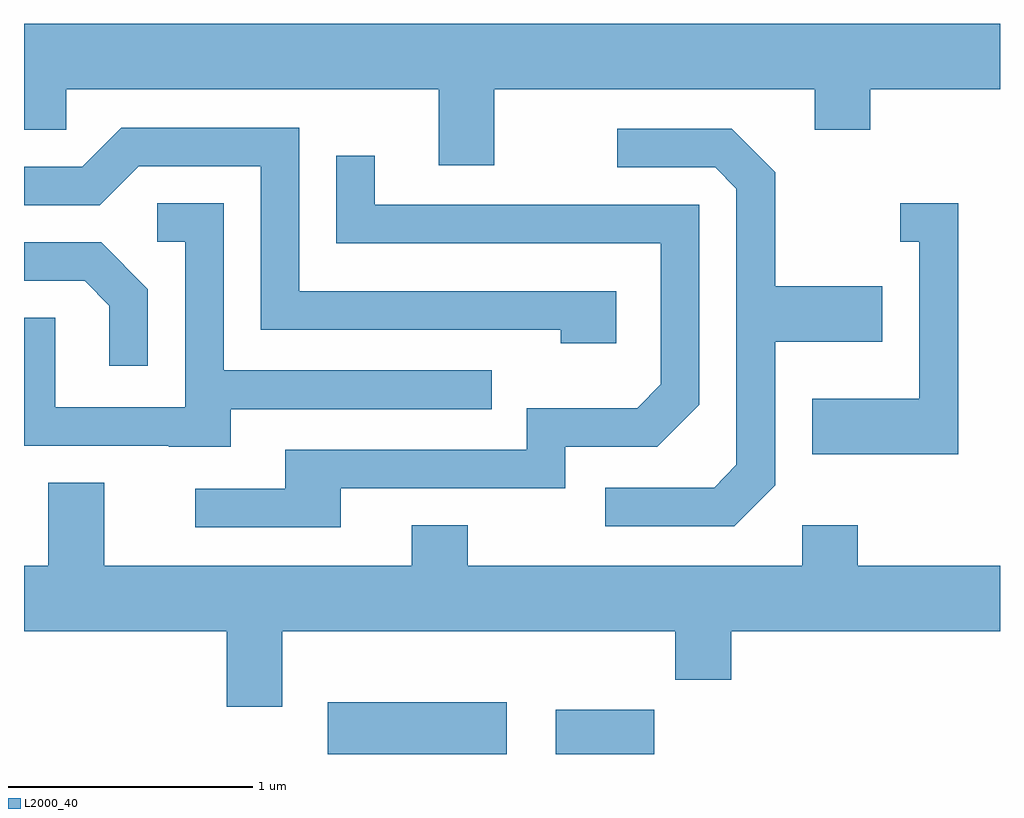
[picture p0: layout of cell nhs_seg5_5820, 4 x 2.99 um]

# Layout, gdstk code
import gdstk
lib = gdstk.Library(unit=1e-6, precision=1e-09)
def R(c, l, rs):  # rectangles x0, y0, x1, y1
    for r in rs: c.add(gdstk.rectangle(r[:2], r[2:], *l))
def P(c, l, *ps):  # polygons
    for p in ps: c.add(gdstk.Polygon(p, *l))
L2000_40 = (2000, 40)

nhs_seg5_5820 = lib.new_cell('nhs_seg5_5820')
R(nhs_seg5_5820, L2000_40, [(358.856,1454.072,359.589,1454.284), (359.791,1454.072,360.194,1454.254)])
P(nhs_seg5_5820, L2000_40, [(359.539,1456.796),(360.851,1456.796),(360.851,1456.631),(361.079,1456.631),(361.079,1456.796),(361.611,1456.796),(361.611,1457.064),(357.611,1457.064),(357.611,1456.631),(357.784,1456.631),(357.784,1456.796),(359.311,1456.796),(359.311,1456.486),(359.539,1456.486)],
  [(360.039,1455.969),(358.739,1455.969),(358.739,1456.639),(358.009,1456.639),(357.849,1456.479),(357.611,1456.479),(357.611,1456.321),(357.922,1456.321),(358.082,1456.481),(358.581,1456.481),(358.581,1455.811),(359.811,1455.811),(359.811,1455.756),(360.039,1455.756)],
  [(360.689,1455.174),(360.689,1455.761),(361.129,1455.761),(361.129,1455.989),(360.689,1455.989),(360.689,1456.457),(360.512,1456.634),(360.043,1456.634),(360.043,1456.476),(360.444,1456.476),(360.531,1456.389),(360.531,1455.257),(360.439,1455.164),(359.993,1455.164),(359.993,1455.006),(360.522,1455.006)],
  [(358.909,1455.161),(359.829,1455.161),(359.829,1455.331),(360.207,1455.331),(360.379,1455.504),(360.379,1456.324),(359.049,1456.324),(359.049,1456.523),(358.891,1456.523),(358.891,1456.166),(360.221,1456.166),(360.221,1455.587),(360.124,1455.489),(359.671,1455.489),(359.671,1455.319),(358.681,1455.319),(358.681,1455.159),(358.313,1455.159),(358.313,1455.001),(358.909,1455.001)],
  [(361.439,1456.329),(361.203,1456.329),(361.203,1456.171),(361.281,1456.171),(361.281,1455.529),(360.841,1455.529),(360.841,1455.301),(361.439,1455.301)],
  [(358.459,1455.486),(359.528,1455.486),(359.528,1455.644),(358.429,1455.644),(358.429,1456.329),(358.158,1456.329),(358.158,1456.171),(358.271,1456.171),(358.271,1455.494),(357.739,1455.494),(357.739,1455.859),(357.611,1455.859),(357.611,1455.336),(358.205,1455.336),(358.205,1455.331),(358.459,1455.331)],
  [(358.119,1455.977),(357.927,1456.169),(357.611,1456.169),(357.611,1456.011),(357.859,1456.011),(357.961,1455.909),(357.961,1455.663),(358.119,1455.663)],
  [(358.669,1454.576),(360.281,1454.576),(360.281,1454.376),(360.509,1454.376),(360.509,1454.576),(361.611,1454.576),(361.611,1454.844),(361.029,1454.844),(361.029,1455.009),(360.801,1455.009),(360.801,1454.844),(359.429,1454.844),(359.429,1455.009),(359.201,1455.009),(359.201,1454.844),(357.939,1454.844),(357.939,1455.184),(357.711,1455.184),(357.711,1454.844),(357.611,1454.844),(357.611,1454.576),(358.441,1454.576),(358.441,1454.266),(358.669,1454.266)])

lib.write_gds('nhs_seg5_5820.gds')
